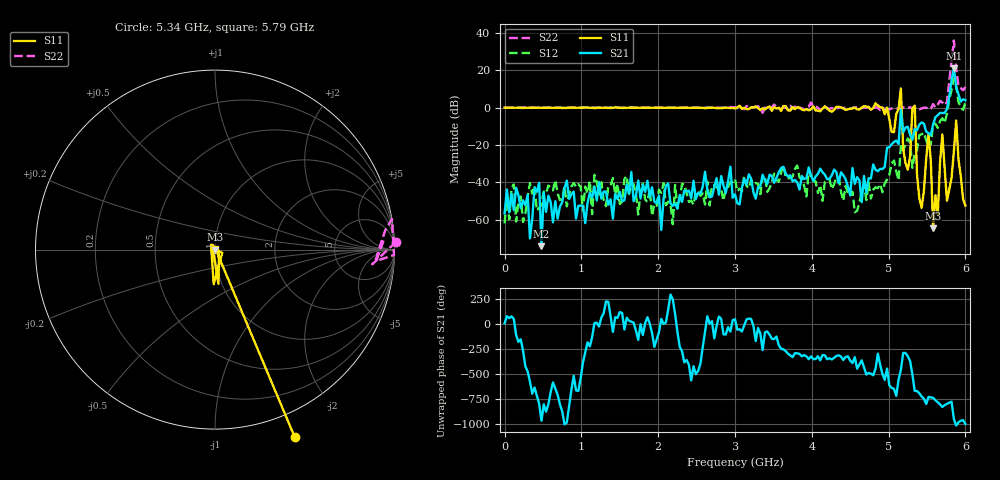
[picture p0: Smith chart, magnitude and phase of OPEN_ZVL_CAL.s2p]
#  HZ  S  DB  R  50.0
! Rohde & Schwarz ZVL13 2Ports - Version 3.20 - 1303.6509k13 SN: 100953
! Date: 2024-10-09 07:56:13
! Data & Calibration Information:
! Trc1:S11(TOSM) Trc4:S21(TOSM) Trc2:S12(TOSM) Trc3:S22(TOSM)
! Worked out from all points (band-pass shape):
!   201 points, 9 kHz to 6 GHz, reference 50 ohm
!   highest |S21| = 21.16 dB at 5.85 GHz (marker M1); lowest = -74.1 dB at 480 MHz (marker M2)
!   |S21| within 3 dB of the highest: 5.836414 GHz to 5.858917 GHz (22.5 MHz wide, 0.385 % of centre)
!   lowest |S11| = -64.6 dB at 5.58 GHz (marker M3), VSWR 1.00, Z = 50 + j0.0532 ohm
!   |S11| at or under -10 dB: 5.179 GHz to 5.299 GHz (120 MHz wide, 2.29 % of centre); 5.349 GHz to 5.874 GHz (525.3 MHz wide, 9.36 % of centre); 5.885 GHz to end of sweep (the widest 3 of 4)
!   |S22| runs from -2.7 to 36.0 dB; largest |S21 - S12| = 7.9
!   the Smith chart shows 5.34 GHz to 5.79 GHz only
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9000  0.01 -0.1  -56.67 5.1  -61.97 -122.9  0.01 -0.1
4.800083e8  -0.07 -0.5  -74.14 107.6  -51.71 23.4  0.15 -0.9
1.020007e9  0.02 -1.2  -52.46 -28.5  -55.19 -76.7  0.09 -0.5
2.010006e9  -0.01 0.1  -47.09 -83.8  -43.82 43.7  0.05 0.1
3.000004e9  -0.40 3.5  -46.41 45.7  -38.16 46.7  0.30 7.1
4.020003e9  0.66 3.9  -39.26 5.6  -39.29 9.6  0.56 4.0
5.010001e9  -6.44 60.1  -21.15 102.1  -35.73 133.4  -0.85 -0.3
5.160001e9  10.30 -18.3  -1.19 -102.2  -19.96 -114.4  -0.65 0.5
5.190001e9  -21.93 63.0  -13.16 68.1  -23.01 107.3  0.25 -0.7
5.340001e9  1.11 -67.0  -11.43 47.2  -24.42 99.1  0.08 2.4
5.430001e9  -53.65 59.1  -7.95 -9.6  -14.22 -2.7  -0.41 6.4
5.520001e9  -14.28 -92.1  -13.69 -13.3  -21.65 -65.2  -0.91 -4.1
5.580001e9  -64.62 115.2  -8.87 -23.1  -8.90 -6.4  1.91 -0.8
5.7e9  -14.33 -84.3  -2.85 -114.2  -5.72 -90.4  2.75 -19.5
5.76e9  -49.79 -23.3  -0.73 -82.4  -3.24 -67.1  3.08 -2.6
5.79e9  -43.80 111.1  5.97 -71.6  3.98 -64.3  14.29 13.3
5.82e9  -37.51 -79.5  14.53 -60.7  9.59 -96.0  25.17 7.8
5.85e9  -23.54 -101.5  21.16 125.0  15.64 84.3  35.98 7.0
5.88e9  -6.87 132.4  11.06 60.8  11.55 49.5  21.01 -55.4
5.91e9  -27.62 -114.0  7.03 91.4  3.10 64.3  11.70 -46.1
5.94e9  -36.74 -137.6  3.30 109.0  0.09 100.5  10.52 -1.7
6e9  -52.44 56.3  4.03 76.3  2.76 69.9  11.11 -21.5
